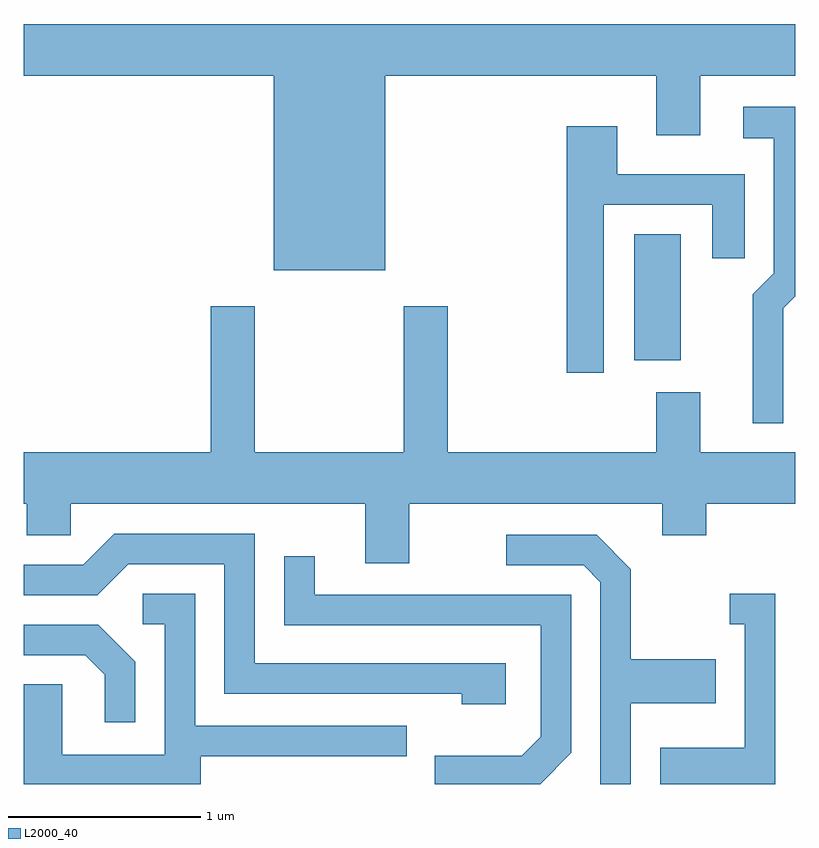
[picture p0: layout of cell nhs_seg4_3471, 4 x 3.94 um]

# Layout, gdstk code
import gdstk
lib = gdstk.Library(unit=1e-6, precision=1e-09)
def R(c, l, rs):  # rectangles x0, y0, x1, y1
    for r in rs: c.add(gdstk.rectangle(r[:2], r[2:], *l))
def P(c, l, *ps):  # polygons
    for p in ps: c.add(gdstk.Polygon(p, *l))
L2000_40 = (2000, 40)

nhs_seg4_3471 = lib.new_cell('nhs_seg4_3471')
R(nhs_seg4_3471, L2000_40, [(290.776,1262.181,291.019,1262.834)])
P(nhs_seg4_3471, L2000_40, [(289.484,1263.656),(290.891,1263.656),(290.891,1263.346),(291.119,1263.346),(291.119,1263.656),(291.611,1263.656),(291.611,1263.924),(287.611,1263.924),(287.611,1263.656),(288.906,1263.656),(288.906,1262.646),(289.484,1262.646)],
  [(291.549,1262.449),(291.611,1262.511),(291.611,1263.494),(291.343,1263.494),(291.343,1263.331),(291.501,1263.331),(291.501,1262.632),(291.391,1262.522),(291.391,1261.853),(291.549,1261.853)],
  [(290.619,1262.986),(291.181,1262.986),(291.181,1262.708),(291.349,1262.708),(291.349,1263.144),(290.689,1263.144),(290.689,1263.394),(290.426,1263.394),(290.426,1262.116),(290.619,1262.116)],
  [(289.609,1261.436),(290.921,1261.436),(290.921,1261.271),(291.149,1261.271),(291.149,1261.436),(291.611,1261.436),(291.611,1261.704),(291.119,1261.704),(291.119,1262.014),(290.891,1262.014),(290.891,1261.704),(289.809,1261.704),(289.809,1262.459),(289.581,1262.459),(289.581,1261.704),(288.809,1261.704),(288.809,1262.459),(288.581,1262.459),(288.581,1261.704),(287.611,1261.704),(287.611,1261.436),(287.626,1261.436),(287.626,1261.271),(287.854,1261.271),(287.854,1261.436),(289.381,1261.436),(289.381,1261.126),(289.609,1261.126)],
  [(290.109,1260.609),(288.809,1260.609),(288.809,1261.279),(288.079,1261.279),(287.919,1261.119),(287.611,1261.119),(287.611,1260.961),(287.992,1260.961),(288.152,1261.121),(288.651,1261.121),(288.651,1260.451),(289.881,1260.451),(289.881,1260.396),(290.109,1260.396)],
  [(290.759,1260.401),(291.199,1260.401),(291.199,1260.629),(290.759,1260.629),(290.759,1261.097),(290.582,1261.274),(290.113,1261.274),(290.113,1261.116),(290.514,1261.116),(290.601,1261.029),(290.601,1259.982),(290.759,1259.982)],
  [(290.449,1260.144),(290.449,1260.964),(289.119,1260.964),(289.119,1261.163),(288.961,1261.163),(288.961,1260.806),(290.291,1260.806),(290.291,1260.227),(290.194,1260.129),(289.741,1260.129),(289.741,1259.982),(290.288,1259.982)],
  [(291.509,1260.969),(291.273,1260.969),(291.273,1260.811),(291.351,1260.811),(291.351,1260.169),(290.911,1260.169),(290.911,1259.982),(291.509,1259.982)],
  [(288.529,1260.126),(289.598,1260.126),(289.598,1260.284),(288.499,1260.284),(288.499,1260.969),(288.228,1260.969),(288.228,1260.811),(288.341,1260.811),(288.341,1260.134),(287.809,1260.134),(287.809,1260.499),(287.611,1260.499),(287.611,1259.982),(288.529,1259.982)],
  [(288.189,1260.617),(287.997,1260.809),(287.611,1260.809),(287.611,1260.651),(287.929,1260.651),(288.031,1260.549),(288.031,1260.303),(288.189,1260.303)])

lib.write_gds('nhs_seg4_3471.gds')
